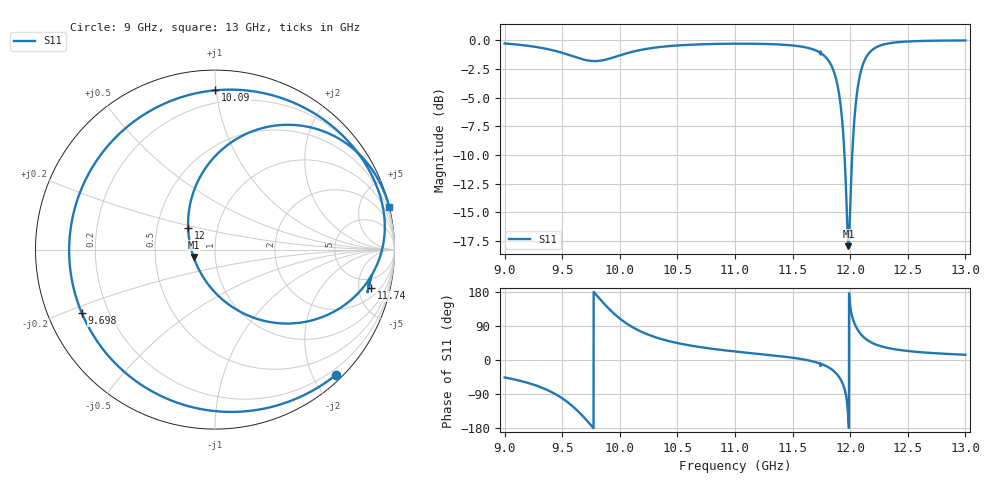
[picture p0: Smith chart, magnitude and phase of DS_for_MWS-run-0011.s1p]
! TOUCHSTONE file generated by CST DESIGN STUDIO
! Date and time: Tue Feb  4 14:18:36 2025
! Project name: C:\Work\MatlabApps\UnitCellOptimizationMatlab\CST\unitcell.cst
! Tree item: Tasks\Sweep1\SPara1\S-Parameters
! Header version: 2024
! Port assignment regex: !\s*Touchstone port\s*([0-9]+)\s*=\s*(CST MWS port|CST DES external port|CST DES block port)\s*(.+)\s* \(\"(.*)\"\)(\s*mode\s*([0-9]+))?.*
! Touchstone port assignment:
! Touchstone port 1 = CST DES external port 1 ("")
# GHz S MA R 50
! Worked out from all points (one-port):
!   4001 points, 9 GHz to 13 GHz, reference 50 ohm
!   lowest |S11| = -18.0 dB at 11.98 GHz (marker M1), VSWR 1.29, Z = 39.2 - j3.25 ohm
!   |S11| at or under -10 dB: 11.95 GHz to 12.02 GHz (66.95 MHz wide, 0.559 % of centre)
!   S11 on the Smith chart (normalised r, x): 9 GHz: 0.10, -2.35; 9.698 GHz: 0.10, -0.22; 10.09 GHz: 0.12, +0.99; 11.74 GHz: 3.10, -6.77; 12 GHz: 0.72, +0.18; 13 GHz: 0.01, +8.28
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9  0.97 -46.0
9.275  0.9359 -67.5
9.5  0.8828 -101.1
9.601  0.85 -125.0
9.698  0.8222 -154.4
9.764  0.8129 -177.0
9.828  0.8153 160.6
9.915  0.8341 132.4
10  0.8603 109.5
10.092  0.8875 89.9
10.276  0.926 63.6
10.5  0.9505 44.7
11  0.9675 22.5
11.5  0.9506 6.0
11.741  0.8955 -14.0
11.838  0.7744 -24.5
11.91  0.5547 -47.9
11.948  0.3346 -73.2
11.972  0.1711 -111.2
11.985  0.1264 -161.2
12  0.1863 143.3
12.001  0.193 141.0
12.045  0.5085 91.2
12.108  0.778 63.0
12.169  0.887 48.6
12.245  0.9434 38.4
12.5  0.9893 23.8
13  0.9996 13.8
